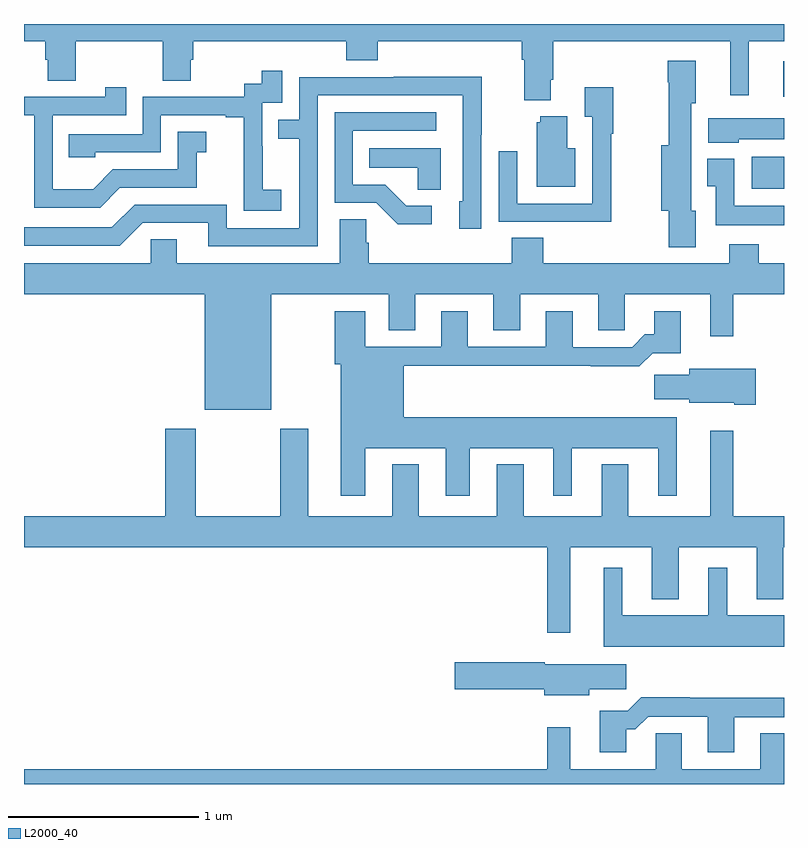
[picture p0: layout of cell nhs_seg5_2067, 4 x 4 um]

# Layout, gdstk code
import gdstk
lib = gdstk.Library(unit=1e-6, precision=1e-09)
def R(c, l, rs):  # rectangles x0, y0, x1, y1
    for r in rs: c.add(gdstk.rectangle(r[:2], r[2:], *l))
def P(c, l, *ps):  # polygons
    for p in ps: c.add(gdstk.Polygon(p, *l))
L2000_40 = (2000, 40)

nhs_seg5_2067 = lib.new_cell('nhs_seg5_2067')
R(nhs_seg5_2067, L2000_40, [(234.83,907.931,235,908.101), (234.995,908.417,235,908.602)])
P(nhs_seg5_2067, L2000_40, [(233.773,908.506),(233.786,908.506),(233.786,908.708),(234.716,908.708),(234.716,908.424),(234.815,908.424),(234.815,908.708),(235,908.708),(235,908.799),(231,908.799),(231,908.708),(231.113,908.708),(231.113,908.61),(231.125,908.61),(231.125,908.5),(231.273,908.5),(231.273,908.708),(231.73,908.708),(231.73,908.5),(231.877,908.5),(231.877,908.61),(231.89,908.61),(231.89,908.708),(232.697,908.708),(232.697,908.609),(232.862,908.609),(232.862,908.708),(233.621,908.708),(233.621,908.612),(233.633,908.612),(233.633,908.399),(233.773,908.399)],
  [(234.535,907.815),(234.511,907.815),(234.511,908.382),(234.535,908.382),(234.535,908.605),(234.389,908.605),(234.389,908.492),(234.394,908.492),(234.394,908.161),(234.353,908.161),(234.353,907.817),(234.394,907.817),(234.394,907.625),(234.535,907.625)],
  [(232.354,907.927),(232.256,907.927),(232.256,908.156),(232.254,908.156),(232.254,908.385),(232.359,908.385),(232.359,908.554),(232.251,908.554),(232.251,908.484),(232.158,908.484),(232.158,908.415),(231.624,908.415),(231.624,908.22),(231.235,908.22),(231.235,908.097),(231.375,908.097),(231.375,908.124),(231.72,908.124),(231.72,908.319),(232.061,908.319),(232.061,908.307),(232.157,908.307),(232.157,908.023),(232.156,908.023),(232.156,907.817),(232.354,907.817)],
  [(232.545,908.424),(233.31,908.424),(233.31,907.866),(233.291,907.866),(233.291,907.722),(233.406,907.722),(233.406,908.215),(233.409,908.215),(233.409,908.522),(232.945,908.522),(232.945,908.52),(232.449,908.52),(232.449,908.295),(232.339,908.295),(232.339,908.194),(232.449,908.194),(232.449,907.725),(232.068,907.725),(232.068,907.848),(231.582,907.848),(231.462,907.728),(231,907.728),(231,907.632),(231.504,907.632),(231.624,907.752),(231.971,907.752),(231.971,907.629),(232.545,907.629)],
  [(234.092,908.222),(234.1,908.222),(234.1,908.467),(233.951,908.467),(233.951,908.311),(233.991,908.311),(233.991,907.854),(233.595,907.854),(233.595,908.128),(233.499,908.128),(233.499,907.758),(233.815,907.758),(233.815,907.757),(234.092,907.757)],
  [(231.505,907.938),(231.909,907.938),(231.909,908.123),(231.958,908.123),(231.958,908.233),(231.81,908.233),(231.81,908.034),(231.468,908.034),(231.364,907.93),(231.15,907.93),(231.15,908.319),(231.539,908.319),(231.539,908.467),(231.428,908.467),(231.428,908.415),(231,908.415),(231,908.319),(231.054,908.319),(231.054,907.833),(231.4,907.833)],
  [(233.146,907.842),(233.011,907.842),(232.9,907.953),(232.731,907.953),(232.731,908.238),(233.17,908.238),(233.17,908.334),(232.635,908.334),(232.635,907.857),(232.854,907.857),(232.967,907.745),(233.146,907.745)],
  [(233.902,908.146),(233.86,908.146),(233.86,908.314),(233.717,908.314),(233.717,908.283),(233.699,908.283),(233.699,907.943),(233.902,907.943)],
  [(234.762,908.192),(235,908.192),(235,908.302),(234.6,908.302),(234.6,908.174),(234.762,908.174)],
  [(233.194,908.146),(232.816,908.146),(232.816,908.042),(233.073,908.042),(233.073,907.927),(233.194,907.927)],
  [(235,907.843),(234.738,907.843),(234.738,908.089),(234.596,908.089),(234.596,907.945),(234.641,907.945),(234.641,907.739),(235,907.739)],
  [(232.3,907.376),(232.919,907.376),(232.919,907.186),(233.059,907.186),(233.059,907.376),(233.471,907.376),(233.471,907.186),(233.611,907.186),(233.611,907.376),(234.023,907.376),(234.023,907.186),(234.162,907.186),(234.162,907.376),(234.611,907.376),(234.611,907.155),(234.733,907.155),(234.733,907.376),(235,907.376),(235,907.54),(234.866,907.54),(234.866,907.639),(234.713,907.639),(234.713,907.54),(233.732,907.54),(233.732,907.673),(233.567,907.673),(233.567,907.54),(232.814,907.54),(232.814,907.649),(232.8,907.649),(232.8,907.772),(232.661,907.772),(232.661,907.54),(231.805,907.54),(231.805,907.667),(231.666,907.667),(231.666,907.54),(231,907.54),(231,907.376),(231.95,907.376),(231.95,906.77),(232.3,906.77)],
  [(232.795,906.566),(233.219,906.566),(233.219,906.315),(233.347,906.315),(233.347,906.566),(233.786,906.566),(233.786,906.315),(233.884,906.315),(233.884,906.566),(234.338,906.566),(234.338,906.315),(234.436,906.315),(234.436,906.73),(232.999,906.73),(232.999,907),(233.983,907),(233.983,906.998),(234.239,906.998),(234.308,907.067),(234.457,907.067),(234.457,907.288),(234.317,907.288),(234.317,907.165),(234.268,907.165),(234.201,907.098),(233.887,907.098),(233.887,907.288),(233.747,907.288),(233.747,907.101),(233.335,907.101),(233.335,907.288),(233.195,907.288),(233.195,907.101),(232.795,907.101),(232.795,907.288),(232.636,907.288),(232.636,907.008),(232.667,907.008),(232.667,906.315),(232.795,906.315)],
  [(234.85,906.985),(234.501,906.985),(234.501,906.953),(234.318,906.953),(234.318,906.824),(234.501,906.824),(234.501,906.806),(234.737,906.806),(234.737,906.794),(234.85,906.794)],
  [(233.875,906.044),(234.305,906.044),(234.305,905.771),(234.445,905.771),(234.445,906.044),(234.857,906.044),(234.857,905.771),(234.997,905.771),(234.997,906.044),(235,906.044),(235,906.208),(234.733,906.208),(234.733,906.658),(234.611,906.658),(234.611,906.208),(234.181,906.208),(234.181,906.481),(234.041,906.481),(234.041,906.208),(233.629,906.208),(233.629,906.481),(233.489,906.481),(233.489,906.208),(233.077,906.208),(233.077,906.481),(232.937,906.481),(232.937,906.208),(232.495,906.208),(232.495,906.67),(232.348,906.67),(232.348,906.208),(231.903,906.208),(231.903,906.67),(231.743,906.67),(231.743,906.208),(231,906.208),(231,906.044),(233.754,906.044),(233.754,905.595),(233.875,905.595)],
  [(235,905.686),(234.7,905.686),(234.7,905.938),(234.602,905.938),(234.602,905.686),(234.148,905.686),(234.148,905.938),(234.05,905.938),(234.05,905.522),(235,905.522)],
  [(233.974,905.299),(234.169,905.299),(234.169,905.428),(233.742,905.428),(233.742,905.441),(233.268,905.441),(233.268,905.299),(233.738,905.299),(233.738,905.267),(233.974,905.267)],
  [(234.169,905.087),(234.218,905.087),(234.285,905.154),(234.599,905.154),(234.599,904.965),(234.739,904.965),(234.739,905.151),(235,905.151),(235,905.252),(234.503,905.252),(234.503,905.255),(234.248,905.255),(234.178,905.185),(234.029,905.185),(234.029,904.965),(234.169,904.965)],
  [(235,905.066),(234.875,905.066),(234.875,904.876),(234.463,904.876),(234.463,905.066),(234.324,905.066),(234.324,904.876),(233.875,904.876),(233.875,905.098),(233.754,905.098),(233.754,904.876),(231,904.876),(231,904.799),(235,904.799)])

lib.write_gds('nhs_seg5_2067.gds')
